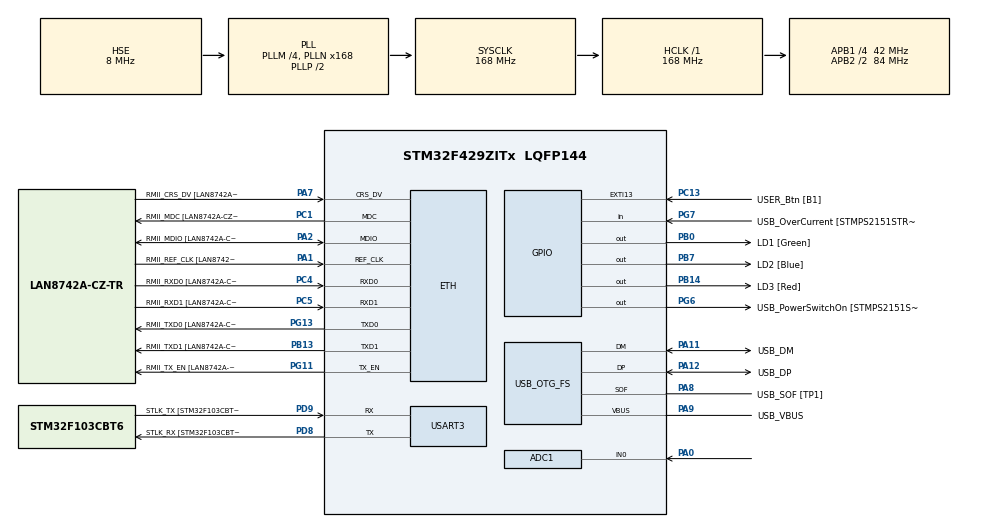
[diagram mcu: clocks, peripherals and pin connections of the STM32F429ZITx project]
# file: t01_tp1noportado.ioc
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ADC1.Channel-0\#ChannelRegularConversion=ADC_CHANNEL_0
ADC1.ContinuousConvMode=ENABLE
ADC1.DMAContinuousRequests=ENABLE
ADC1.InjNumberOfConversion=0
ADC1.NbrOfConversionFlag=1
ADC1.Rank-0\#ChannelRegularConversion=1
ADC1.Resolution=ADC_RESOLUTION_10B
ADC1.SamplingTime-0\#ChannelRegularConversion=ADC_SAMPLETIME_84CYCLES
ADC1.master=1
Dma.ADC1.0.Direction=DMA_PERIPH_TO_MEMORY
Dma.ADC1.0.FIFOMode=DMA_FIFOMODE_DISABLE
Dma.ADC1.0.Instance=DMA2_Stream0
Dma.ADC1.0.MemDataAlignment=DMA_MDATAALIGN_WORD
Dma.ADC1.0.MemInc=DMA_MINC_ENABLE
Dma.ADC1.0.Mode=DMA_CIRCULAR
Dma.ADC1.0.PeriphDataAlignment=DMA_PDATAALIGN_WORD
Dma.ADC1.0.PeriphInc=DMA_PINC_DISABLE
Dma.ADC1.0.Priority=DMA_PRIORITY_LOW
Dma.Request0=ADC1
ETH.MediaInterface=HAL_ETH_RMII_MODE
ETH.PHY_Name=LAN8742A_PHY_ADDRESS
ETH.PHY_Value=0
ETH.PhyAddress=0
LWIP.BSP.number=1
LWIP.Version=v2.1.2_Cube
LWIP0.BSP.STBoard=false
LWIP0.BSP.api=BSP_COMPONENT_DRIVER
LWIP0.BSP.component=LAN8742
LWIP0.BSP.instance=LAN8742
LWIP0.BSP.name=Driver_PHY
LWIP0.BSP.semaphore=S_LAN8742
LWIP0.BSP.solution=LAN8742
Mcu.Family=STM32F4
Mcu.Name=STM32F429ZITx
Mcu.Package=LQFP144
NVIC.DMA2_Stream0_IRQn=true\:0\:0\:false\:false\:true\:false\:true\:true
NVIC.ETH_IRQn=true\:0\:0\:false\:false\:true\:true\:true\:true
NVIC.EXTI15_10_IRQn=true\:0\:0\:false\:false\:true\:true\:true\:true
NVIC.PriorityGroup=NVIC_PRIORITYGROUP_4
NVIC.TIM1_UP_TIM10_IRQn=true\:0\:0\:false\:false\:true\:true\:true\:true
PA0/WKUP.Signal=ADCx_IN0
PA1.GPIO_Label=RMII_REF_CLK [LAN8742A-CZ-TR_REFCLK0]
PA1.Mode=RMII
PA1.Signal=ETH_REF_CLK
PA10.GPIO_Label=USB_ID
PA10.Signal=USB_OTG_FS_ID
PA11.GPIO_Label=USB_DM
PA11.Mode=Device_Only
PA11.Signal=USB_OTG_FS_DM
PA12.GPIO_Label=USB_DP
PA12.Mode=Device_Only
PA12.Signal=USB_OTG_FS_DP
PA13.GPIO_Label=TMS
PA13.Mode=Serial_Wire
PA13.Signal=SYS_JTMS-SWDIO
PA14.GPIO_Label=TCK
PA14.Mode=Serial_Wire
PA14.Signal=SYS_JTCK-SWCLK
PA2.GPIO_Label=RMII_MDIO [LAN8742A-CZ-TR_MDIO]
PA2.Mode=RMII
PA2.Signal=ETH_MDIO
PA7.GPIO_Label=RMII_CRS_DV [LAN8742A-CZ-TR_CRS_DV]
PA7.Mode=RMII
PA7.Signal=ETH_CRS_DV
PA8.GPIO_Label=USB_SOF [TP1]
PA8.Mode=Activate_SOF_FS
PA8.Signal=USB_OTG_FS_SOF
PA9.GPIO_Label=USB_VBUS
PA9.Mode=Activate_VBUS
PA9.Signal=USB_OTG_FS_VBUS
PB0.GPIO_Label=LD1 [Green]
PB0.Signal=GPIO_Output
PB13.GPIO_Label=RMII_TXD1 [LAN8742A-CZ-TR_TXD1]
PB13.Mode=RMII
PB13.Signal=ETH_TXD1
PB14.GPIO_Label=LD3 [Red]
PB14.Signal=GPIO_Output
PB7.GPIO_Label=LD2 [Blue]
PB7.Signal=GPIO_Output
PC1.GPIO_Label=RMII_MDC [LAN8742A-CZ-TR_MDC]
PC1.Mode=RMII
PC1.Signal=ETH_MDC
PC13.GPIO_Label=USER_Btn [B1]
PC13.Signal=GPXTI13
PC14/OSC32_IN.Mode=LSE-External-Oscillator
PC14/OSC32_IN.Signal=RCC_OSC32_IN
PC15/OSC32_OUT.Mode=LSE-External-Oscillator
PC15/OSC32_OUT.Signal=RCC_OSC32_OUT
PC4.GPIO_Label=RMII_RXD0 [LAN8742A-CZ-TR_RXD0]
PC4.Mode=RMII
PC4.Signal=ETH_RXD0
PC5.GPIO_Label=RMII_RXD1 [LAN8742A-CZ-TR_RXD1]
PC5.Mode=RMII
PC5.Signal=ETH_RXD1
PD8.GPIO_Label=STLK_RX [STM32F103CBT6_PA3]
PD8.Mode=Asynchronous
PD8.Signal=USART3_TX
PD9.GPIO_Label=STLK_TX [STM32F103CBT6_PA2]
PD9.Mode=Asynchronous
PD9.Signal=USART3_RX
PG11.GPIO_Label=RMII_TX_EN [LAN8742A-CZ-TR_TXEN]
PG11.Mode=RMII
PG11.Signal=ETH_TX_EN
PG13.GPIO_Label=RMII_TXD0 [LAN8742A-CZ-TR_TXD0]
PG13.Mode=RMII
PG13.Signal=ETH_TXD0
PG6.GPIO_Label=USB_PowerSwitchOn [STMPS2151STR_EN]
PG6.Signal=GPIO_Output
PG7.GPIO_Label=USB_OverCurrent [STMPS2151STR_FAULT]
PG7.Signal=GPIO_Input
PH0/OSC_IN.GPIO_Label=MCO [STM32F103CBT6_PA8]
PH0/OSC_IN.Mode=HSE-External-Clock-Source
PH0/OSC_IN.Signal=RCC_OSC_IN
PH1/OSC_OUT.Mode=HSE-External-Clock-Source
PH1/OSC_OUT.Signal=RCC_OSC_OUT
ProjectManager.HeapSize=0x200
ProjectManager.StackSize=0x400
ProjectManager.TargetToolchain=STM32CubeIDE
RCC.48MHZClocksFreq_Value=48000000
RCC.AHBFreq_Value=168000000
RCC.APB1CLKDivider=RCC_HCLK_DIV4
RCC.APB1Freq_Value=42000000
RCC.APB1TimFreq_Value=84000000
RCC.APB2CLKDivider=RCC_HCLK_DIV2
RCC.APB2Freq_Value=84000000
RCC.APB2TimCLKDivider=2
RCC.APB2TimFreq_Value=168000000
RCC.CortexFreq_Value=168000000
RCC.HCLKFreq_Value=168000000
RCC.HSE_VALUE=8000000
RCC.HSI_VALUE=16000000
RCC.PLLM=4
RCC.PLLMUL=RCC_PLL_MUL9
RCC.PLLN=168
RCC.PLLQ=7
RCC.PRESCALERUSB=RCC_USBCLKSOURCE_PLL_DIV1_5
RCC.SYSCLKFreq_VALUE=168000000
RCC.SYSCLKSource=RCC_SYSCLKSOURCE_PLLCLK
RCC.SYSCLKSourceVirtual=RCC_SYSCLKSOURCE_PLLCLK
RCC.USBFreq_Value=48000000
RCC.VCOOutputFreq_Value=336000000
SH.ADCx_IN0.0=ADC1_IN0,IN0
TIM1.AutoReloadPreload=TIM_AUTORELOAD_PRELOAD_ENABLE
TIM1.Period=1680-1
TIM1.Prescaler=20-1
USART3.VirtualMode=VM_ASYNC
USB_OTG_FS.VirtualMode=Device_Only
VP_LWIP_VS_Enabled.Mode=Enabled
VP_TIM1_VS_ClockSourceINT.Mode=Internal
board=NUCLEO-F429ZI

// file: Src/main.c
/* USER CODE BEGIN Header */
/**
  ******************************************************************************
  * @file           : main.c
  * @brief          : Main program body
  ******************************************************************************
  * @attention
  *
  * Copyright (c) 2023 STMicroelectronics.
  * All rights reserved.
  *
  * This software is licensed under terms that can be found in the LICENSE file
  * in the root directory of this software component.
  * If no LICENSE file comes with this software, it is provided AS-IS.
  *
  ******************************************************************************
  */
/* USER CODE END Header */
#include "main.h"
#include "adc.h"
#include "dma.h"
#include "lwip.h"
#include "tim.h"
#include "usart.h"
#include "usb_otg.h"
#include "gpio.h"

/* USER CODE BEGIN Includes */
#include <stdio.h>
#include <stdbool.h>
#include <string.h>
#include "lwip/pbuf.h"
#include "lwip/udp.h"

#include "arm_math.h"
#include "arm_common_tables.h"
/* USER CODE END Includes */

/* USER CODE BEGIN PTD */
#define START_ID		1
#define NUM_SAMPLES		500
#define SAMPLE_FREQ		2000
#define MIDLEVEL_ADC	512
#define MIDLEVEL_ADC2	8

#define MAX_CLOCK_SYS	168000000
#define MAX_VAL_16BITS	65535

#define DEST_IP_ADDR0   192
#define DEST_IP_ADDR1   168
//#define DEST_IP_ADDR2   5
//#define DEST_IP_ADDR3   229
#define DEST_IP_ADDR2   60
#define DEST_IP_ADDR3   125

#define UDP_SERVER_PORT    61454   /* define the UDP local connection port */

typedef bool bool_t;
struct header_struct {
   char     head[4];
   uint32_t id;
   uint16_t N;
   uint16_t fs ;
   char     tail[4];
} header={"head",START_ID-1,NUM_SAMPLES,SAMPLE_FREQ,"tail"};

uint32_t h_maxIndex;
uint32_t h_minIndex;
q15_t    h_maxValue;
q15_t    h_minValue;
q15_t    h_rms;

typedef struct
{
	uint16_t	prescaler;
	uint16_t	period;
}mxTimConfs;
/* USER CODE END PTD */

/* USER CODE BEGIN PM */
#ifdef __GNUC__
#define PUTCHAR_PROTOTYPE int __io_putchar(int ch)
#else
#define PUTCHAR_PROTOTYPE int fputc(int ch, FILE *f)
#endif
/* USER CODE END PM */

/* USER CODE BEGIN PV */
int cont=0;
mxTimConfs confs_var;
bool_t	irq_timer;
uint32_t medicion, adc_val;
bool_t	sampling_signal;

uint16_t sample;
uint8_t udp_buffer[sizeof(header)+NUM_SAMPLES*sizeof(uint16_t)];

extern struct netif gnetif;
bool_t notify_newip;
uint32_t curr_ipdev;
uint32_t prev_ipdev;
struct udp_pcb *upcb;
u8_t   data[100];
__IO uint32_t message_count = 0;

int16_t checktest;
q15_t asf=0x0000;
/* USER CODE END PV */

void SystemClock_Config(void);
/* USER CODE BEGIN PFP */

mxTimConfs calculate_SettingsTimer(uint32_t freq);
void setOwner_TimerConfs(uint16_t prescaler, uint16_t period);
void udpApp_client_Initialization(void);
void udpApp_receive_callback(void *arg, struct udp_pcb *pcb, struct pbuf *p, const ip_addr_t *addr, u16_t port);
void udpApp_client_send(char *data_msg, uint16_t datasize);
/* USER CODE END PFP */

int main(void)
{
  /* USER CODE BEGIN 1 */
  int16_t adc[header.N];
  /* USER CODE END 1 */

  /* MCU Configuration--------------------------------------------------------*/

  /* Reset of all peripherals, Initializes the Flash interface and the Systick. */
  HAL_Init();

  /* Configure the system clock */
  SystemClock_Config();

  /* Initialize all configured peripherals */
  MX_GPIO_Init();
  MX_DMA_Init();
  MX_USART3_UART_Init();
  MX_USB_OTG_FS_PCD_Init();
  MX_TIM1_Init();
  MX_ADC1_Init();
  MX_LWIP_Init();
  /* USER CODE BEGIN 2 */
  printf("Inicio programa ADC sending\n");
  irq_timer=false;
  adc_val=0;
  sample = 0;
  notify_newip=true;
  curr_ipdev=0;
  prev_ipdev=-1;
  sampling_signal=true;
  confs_var=calculate_SettingsTimer(header.fs);

  udpApp_client_Initialization();
  setOwner_TimerConfs(confs_var.prescaler-1, confs_var.period-1);
  HAL_TIM_Base_Start_IT(&htim1);
  HAL_ADC_Start_DMA(&hadc1, &medicion, 1);
  /* USER CODE END 2 */

  /* Infinite loop */
  while (1)
  {

    /* USER CODE BEGIN 3 */
	  MX_LWIP_Process();
	  if (irq_timer && sampling_signal) {
		  adc[sample] = (int16_t) (medicion & 0x03FF) - MIDLEVEL_ADC;
//		  adc[sample] = (int16_t) ((medicion & 0x03FF)>>6) - MIDLEVEL_ADC2;

		  checktest=adc[sample];
		  sample++;

		  if (sample==header.N) {
			HAL_GPIO_TogglePin(LD3_GPIO_Port, LD3_Pin);

			arm_max_q15 ( adc, header.N, &h_maxValue, &h_maxIndex );
			arm_min_q15 ( adc, header.N, &h_minValue, &h_minIndex );
			arm_rms_q15 ( adc, header.N, &h_rms);

			sample=0;
			header.id++;

			// Format 1
//			memcpy(&udp_buffer[0], &adc[0], sizeof(adc));
//			memcpy(&udp_buffer[sizeof(adc)], &header, sizeof(header));
//			udpApp_client_send((char*)udp_buffer, sizeof(adc)+sizeof(header));

			// Format 2
			memcpy(&udp_buffer[0], &header, sizeof(header));
			memcpy(&udp_buffer[sizeof(header)], &adc[0], sizeof(adc));
//			udpApp_client_send((char*)udp_buffer, sizeof(header));
			udpApp_client_send((char*)udp_buffer, sizeof(header)+ sizeof(adc));

//			printf("Se envia el array completa\n");
//			printf("Se envia el header completa\n");
		  }
		  HAL_GPIO_TogglePin(LD2_GPIO_Port, LD2_Pin);
		  adc_val=medicion;
		  irq_timer=false;
	  }
	  curr_ipdev=(uint32_t)netif_ip4_addr(&gnetif)->addr;
	  if (curr_ipdev!=prev_ipdev) {
		  printf("Nueva IP obtenida : %lu.%lu.%lu.%lu\n", curr_ipdev>>0 & 0xFF, curr_ipdev>>8 & 0xFF, curr_ipdev>>16 & 0xFF, curr_ipdev>>24 & 0xFF );
		  prev_ipdev=curr_ipdev;

	  }

  }
  /* USER CODE END 3 */
}

void SystemClock_Config(void)
{
  RCC_OscInitTypeDef RCC_OscInitStruct = {0};
  RCC_ClkInitTypeDef RCC_ClkInitStruct = {0};

  /** Configure the main internal regulator output voltage
  */
  __HAL_RCC_PWR_CLK_ENABLE();
  __HAL_PWR_VOLTAGESCALING_CONFIG(PWR_REGULATOR_VOLTAGE_SCALE1);

  /** Initializes the RCC Oscillators according to the specified parameters
  * in the RCC_OscInitTypeDef structure.
  */
  RCC_OscInitStruct.OscillatorType = RCC_OSCILLATORTYPE_HSE;
  RCC_OscInitStruct.HSEState = RCC_HSE_BYPASS;
  RCC_OscInitStruct.PLL.PLLState = RCC_PLL_ON;
  RCC_OscInitStruct.PLL.PLLSource = RCC_PLLSOURCE_HSE;
  RCC_OscInitStruct.PLL.PLLM = 4;
  RCC_OscInitStruct.PLL.PLLN = 168;
  RCC_OscInitStruct.PLL.PLLP = RCC_PLLP_DIV2;
  RCC_OscInitStruct.PLL.PLLQ = 7;
  if (HAL_RCC_OscConfig(&RCC_OscInitStruct) != HAL_OK)
  {
    Error_Handler();
  }

  /** Initializes the CPU, AHB and APB buses clocks
  */
  RCC_ClkInitStruct.ClockType = RCC_CLOCKTYPE_HCLK|RCC_CLOCKTYPE_SYSCLK
                              |RCC_CLOCKTYPE_PCLK1|RCC_CLOCKTYPE_PCLK2;
  RCC_ClkInitStruct.SYSCLKSource = RCC_SYSCLKSOURCE_PLLCLK;
  RCC_ClkInitStruct.AHBCLKDivider = RCC_SYSCLK_DIV1;
  RCC_ClkInitStruct.APB1CLKDivider = RCC_HCLK_DIV4;
  RCC_ClkInitStruct.APB2CLKDivider = RCC_HCLK_DIV2;

  if (HAL_RCC_ClockConfig(&RCC_ClkInitStruct, FLASH_LATENCY_5) != HAL_OK)
  {
    Error_Handler();
  }
}

/* USER CODE BEGIN 4 */
PUTCHAR_PROTOTYPE
{
  HAL_UART_Transmit(&huart3, (uint8_t *)&ch, 1, HAL_MAX_DELAY);
  return ch;
}

mxTimConfs calculate_SettingsTimer(uint32_t freq)
{
	mxTimConfs aux;
	uint32_t res, mod, div;
	int var;

	div=MAX_CLOCK_SYS/freq;
	mod=MAX_VAL_16BITS;
	for (var = MAX_VAL_16BITS; var >0; --var) {

		if (div%var==0) {
			res=div/var;
			break;
		}
		else {
			if (div%var<mod) {
				mod=div%var;
				res=div/var;
			}
		}
	}
	aux.prescaler = res;
	aux.period=var;
	return aux;
}

void setOwner_TimerConfs(uint16_t prescaler, uint16_t period)
{
	htim1.Init.Prescaler = prescaler;
	htim1.Init.Period = period;
	HAL_TIM_Base_Init(&htim1);
}

void HAL_TIM_PeriodElapsedCallback(TIM_HandleTypeDef *htim)
{
  // Check which version of the timer triggered this callback and toggle LED
  if (htim == &htim1 && !irq_timer)
  {
	  irq_timer=true;
  }
}

void udpApp_client_Initialization(void)
{
  struct ip4_addr DestIPaddr;
  err_t err;

  /* Create a new UDP control block  */
  upcb = udp_new();

  if (upcb!=NULL)
  {
    /*assign destination IP address */
    IP4_ADDR( &DestIPaddr, DEST_IP_ADDR0, DEST_IP_ADDR1, DEST_IP_ADDR2, DEST_IP_ADDR3 );

    /* configure destination IP address and port */
    err= udp_connect(upcb, &DestIPaddr, UDP_SERVER_PORT);

    if (err == ERR_OK)
    {
      /* Set a receive callback for the upcb */
      udp_recv(upcb, udpApp_receive_callback, NULL);
//      udpApp_client_send();
    }
	else
	{
		/* remove connection */
		udp_remove(upcb);
	}
  }
}

void udpApp_client_send(char *data_msg, uint16_t datasize)
{
  struct pbuf *p;

//  sprintf((char*)data, "sending udp client message %d", (int)message_count);

  /* allocate pbuf from pool*/
  p = pbuf_alloc(PBUF_TRANSPORT, datasize, PBUF_POOL);

  if (p != NULL)
  {
    /* copy data to pbuf */
    pbuf_take(p, data_msg, datasize);

    /* send udp data */
    udp_send(upcb, p);

    /* free pbuf */
    pbuf_free(p);
  }
}

void udpApp_receive_callback(void *arg, struct udp_pcb *pcb, struct pbuf *p, const ip_addr_t *addr, u16_t port)
{
	//  /*increment message count */
	  message_count++;
//  HAL_GPIO_TogglePin(LD2_GPIO_Port, LD2_Pin);
  /* Free receive pbuf */
  pbuf_free(p);
}

void HAL_GPIO_EXTI_Callback(uint16_t GPIO_Pin)
{
    if(GPIO_Pin == GPIO_PIN_13) // If The INT Source Is EXTI Line9 (A9 Pin)
    {
    	sampling_signal=!sampling_signal;
    }
}

/* USER CODE END 4 */

void Error_Handler(void)
{
  __disable_irq();
  while (1)
  {
  }
}
